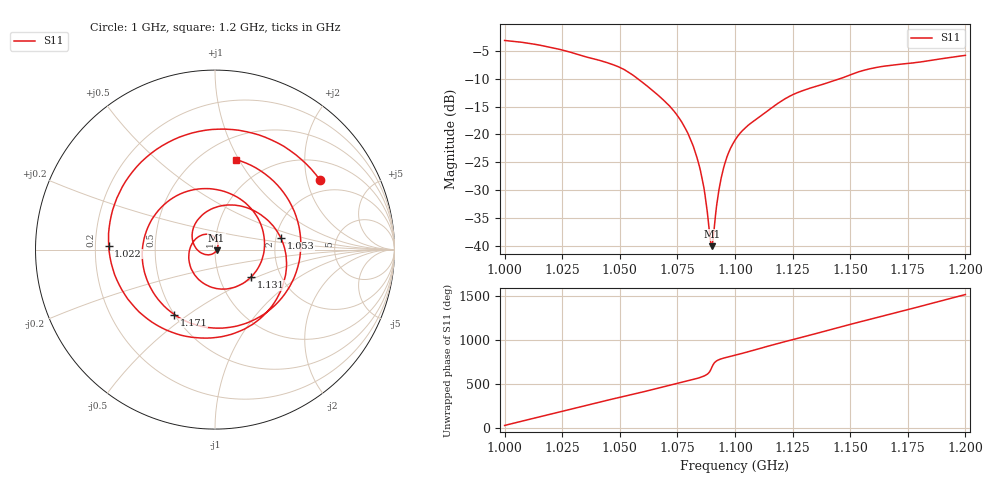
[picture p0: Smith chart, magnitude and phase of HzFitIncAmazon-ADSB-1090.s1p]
! NanoVNA-App
! Date: 2026-05-22 19:32:22
! Start: 1GHz Stop: 1.2GHz Points: 401
! S-Parameter data: F S11
# Hz S RI R 50
!  Frequency  S11_Real  S11_Imag
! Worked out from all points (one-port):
!   401 points, 1 GHz to 1.2 GHz, reference 50 ohm
!   lowest |S11| = -40.1 dB at 1.09 GHz (marker M1), VSWR 1.02, Z = 50.9 - j0.417 ohm
!   |S11| at or under -10 dB: 1.058 GHz to 1.145 GHz (87.3 MHz wide, 7.93 % of centre)
!   S11 on the Smith chart (normalised r, x): 1 GHz: 1.59, +2.41; 1.022 GHz: 0.26, +0.02; 1.053 GHz: 2.13, +0.32; 1.131 GHz: 1.42, -0.46; 1.171 GHz: 0.50, -0.44; 1.2 GHz: 0.71, +0.97
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1e9  0.5866 0.3859
1.01e9  -0.0911 0.6582
1.0165e9  -0.4781 0.4092
1.0225e9  -0.5924 0.0222
1.025e9  -0.5591 -0.14
1.031e9  -0.3256 -0.42
1.0365e9  -0.0182 -0.492
1.0435e9  0.3032 -0.3323
1.05e9  0.3976 -0.0549
1.053e9  0.3672 0.0639
1.0625e9  0.0941 0.2486
1.075e9  -0.1274 0.0751
1.084e9  -0.0493 -0.0282
1.09e9  0.00898 -0.0041
1.0945e9  0.0136 0.0427
1.1e9  -0.0298 0.0837
1.1135e9  -0.1436 -0.0687
1.125e9  0.0612 -0.2196
1.1305e9  0.2014 -0.1521
1.14e9  0.2557 0.1394
1.15e9  -0.052 0.3399
1.1615e9  -0.4 0.0366
1.171e9  -0.2259 -0.3625
1.175e9  -0.0372 -0.4343
1.181e9  0.2703 -0.3616
1.188e9  0.4733 -0.0412
1.1935e9  0.4151 0.2672
1.2e9  0.1171 0.502
